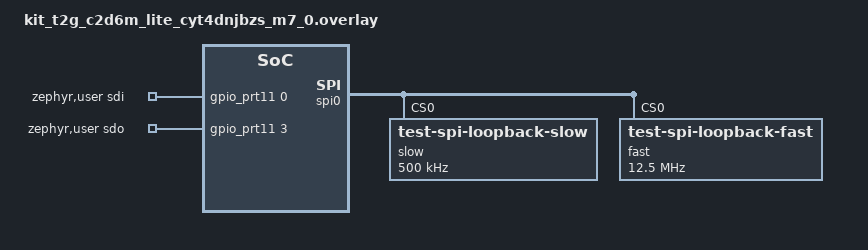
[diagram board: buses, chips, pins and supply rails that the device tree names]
/*
 * SPDX-FileCopyrightText: Copyright (c) 2026 Linumiz
 *
 * SPDX-License-Identifier: Apache-2.0
 */

/* Loopback: connect X800.19 (P11.3, MOSI) to X800.21 (P11.0, MISO) */

/ {
	zephyr,user {
		sdi-gpios = <&gpio_prt11 0 GPIO_ACTIVE_HIGH>;
		sdo-gpios = <&gpio_prt11 3 GPIO_ACTIVE_HIGH>;
	};
};

&spi0 {
	slow@0 {
		compatible = "test-spi-loopback-slow";
		reg = <0>;
		spi-max-frequency = <500000>;
	};

	fast@0 {
		compatible = "test-spi-loopback-fast";
		reg = <0>;
		spi-max-frequency = <12500000>;
	};
};
